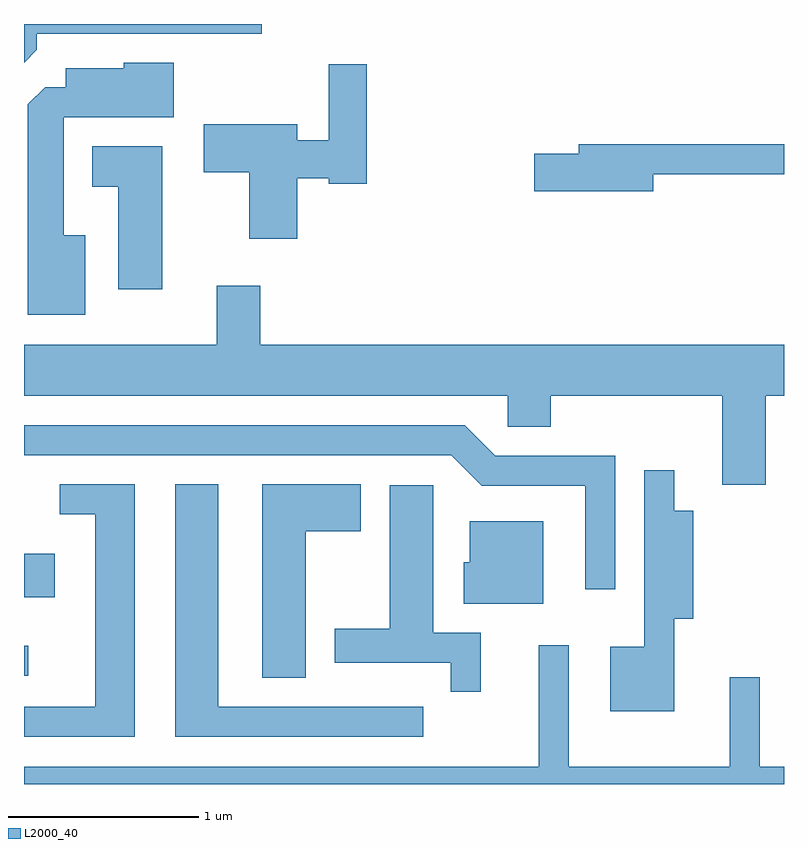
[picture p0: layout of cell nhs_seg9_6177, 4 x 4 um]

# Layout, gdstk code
import gdstk
lib = gdstk.Library(unit=1e-6, precision=1e-09)
def R(c, l, rs):  # rectangles x0, y0, x1, y1
    for r in rs: c.add(gdstk.rectangle(r[:2], r[2:], *l))
def P(c, l, *ps):  # polygons
    for p in ps: c.add(gdstk.Polygon(p, *l))
L2000_40 = (2000, 40)

nhs_seg9_6177 = lib.new_cell('nhs_seg9_6177')
R(nhs_seg9_6177, L2000_40, [(367.611,1997.001,367.633,1997.159), (367.611,1997.416,367.774,1997.644)])
P(nhs_seg9_6177, L2000_40, [(367.679,2000.297),(367.679,2000.381),(368.863,2000.381),(368.863,2000.432),(367.611,2000.432),(367.611,2000.228)],
  [(367.934,1999.319),(367.819,1999.319),(367.819,1999.941),(368.399,1999.941),(368.399,2000.229),(368.136,2000.229),(368.136,2000.199),(367.831,2000.199),(367.831,2000.099),(367.722,2000.099),(367.631,2000.009),(367.631,1998.901),(367.934,1998.901)],
  [(369.049,1999.621),(369.216,1999.621),(369.216,1999.591),(369.414,1999.591),(369.414,2000.219),(369.216,2000.219),(369.216,1999.819),(369.049,1999.819),(369.049,1999.904),(368.556,1999.904),(368.556,1999.651),(368.796,1999.651),(368.796,1999.301),(369.049,1999.301)],
  [(370.924,1999.641),(371.611,1999.641),(371.611,1999.799),(370.531,1999.799),(370.531,1999.749),(370.296,1999.749),(370.296,1999.551),(370.924,1999.551)],
  [(368.339,1999.789),(367.971,1999.789),(367.971,1999.576),(368.106,1999.576),(368.106,1999.036),(368.339,1999.036)],
  [(371.514,1998.476),(371.611,1998.476),(371.611,1998.744),(368.854,1998.744),(368.854,1999.054),(368.626,1999.054),(368.626,1998.744),(367.611,1998.744),(367.611,1998.476),(370.156,1998.476),(370.156,1998.311),(370.384,1998.311),(370.384,1998.476),(371.286,1998.476),(371.286,1998.006),(371.514,1998.006)],
  [(370.724,1998.159),(370.092,1998.159),(369.932,1998.319),(367.611,1998.319),(367.611,1998.161),(369.859,1998.161),(370.019,1998.001),(370.566,1998.001),(370.566,1997.458),(370.724,1997.458)],
  [(371.034,1997.301),(371.134,1997.301),(371.134,1997.869),(371.034,1997.869),(371.034,1998.083),(370.876,1998.083),(370.876,1997.154),(370.696,1997.154),(370.696,1996.816),(371.034,1996.816)],
  [(369.094,1997.761),(369.384,1997.761),(369.384,1998.009),(368.866,1998.009),(368.866,1996.991),(369.094,1996.991)],
  [(369.713,1996.839),(368.634,1996.839),(368.634,1998.009),(368.406,1998.009),(368.406,1996.681),(369.713,1996.681)],
  [(368.194,1998.009),(367.798,1998.009),(367.798,1997.851),(367.986,1997.851),(367.986,1996.839),(367.611,1996.839),(367.611,1996.681),(368.194,1996.681)],
  [(370.014,1997.229),(369.764,1997.229),(369.764,1998.004),(369.536,1998.004),(369.536,1997.249),(369.246,1997.249),(369.246,1997.071),(369.856,1997.071),(369.856,1996.918),(370.014,1996.918)],
  [(370.344,1997.814),(369.956,1997.814),(369.956,1997.599),(369.926,1997.599),(369.926,1997.381),(370.344,1997.381)],
  [(371.611,1996.524),(371.484,1996.524),(371.484,1996.993),(371.326,1996.993),(371.326,1996.524),(370.479,1996.524),(370.479,1997.163),(370.321,1997.163),(370.321,1996.524),(367.611,1996.524),(367.611,1996.432),(371.611,1996.432)])

lib.write_gds('nhs_seg9_6177.gds')
